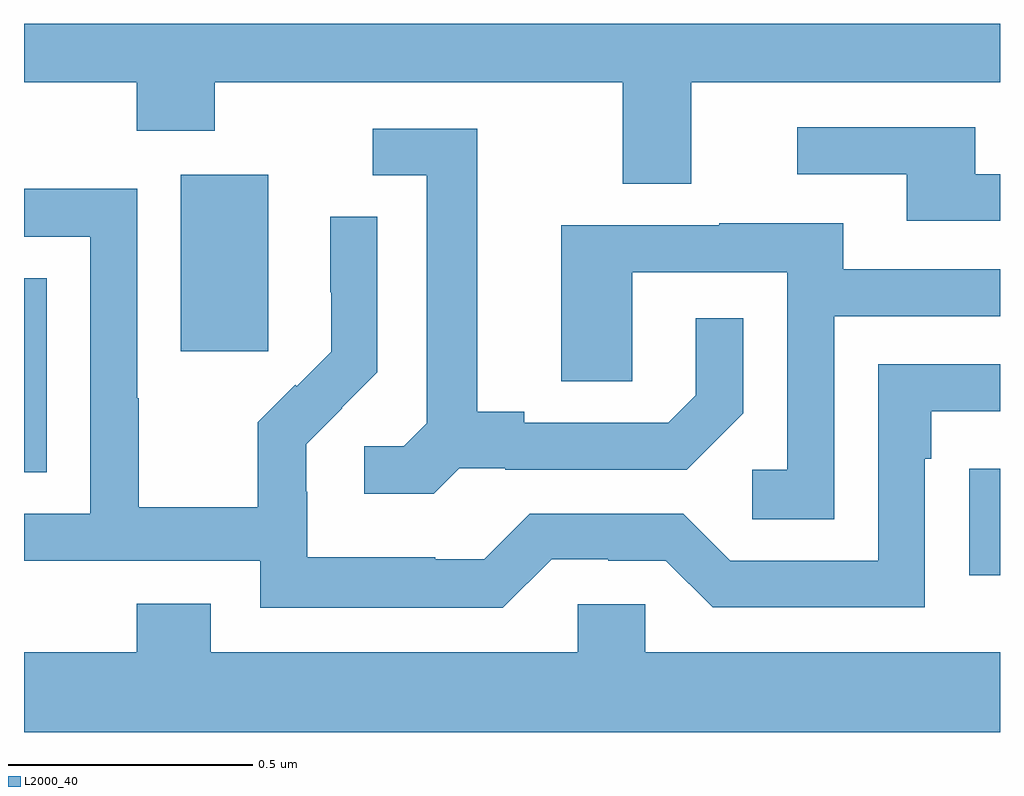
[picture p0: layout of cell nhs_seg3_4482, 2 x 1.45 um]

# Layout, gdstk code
import gdstk
lib = gdstk.Library(unit=1e-6, precision=1e-09)
def R(c, l, rs):  # rectangles x0, y0, x1, y1
    for r in rs: c.add(gdstk.rectangle(r[:2], r[2:], *l))
def P(c, l, *ps):  # polygons
    for p in ps: c.add(gdstk.Polygon(p, *l))
L2000_40 = (2000, 40)

nhs_seg3_4482 = lib.new_cell('nhs_seg3_4482')
R(nhs_seg3_4482, L2000_40, [(168.937,669.27,169,669.488), (167,669.481,167.047,669.878), (167.321,669.729,167.5,670.09)])
P(nhs_seg3_4482, L2000_40, [(168.367,670.28),(169,670.28),(169,670.4),(167,670.4),(167,670.28),(167.231,670.28),(167.231,670.181),(167.391,670.181),(167.391,670.28),(168.227,670.28),(168.227,670.072),(168.367,670.072)],
  [(169,670.092),(168.949,670.092),(168.949,670.188),(168.585,670.188),(168.585,670.092),(168.809,670.092),(168.809,669.996),(169,669.996)],
  [(167.892,669.489),(167.986,669.489),(167.986,669.486),(168.358,669.486),(168.474,669.602),(168.474,669.796),(168.377,669.796),(168.377,669.639),(168.32,669.582),(168.025,669.582),(168.025,669.605),(167.929,669.605),(167.929,670.185),(167.715,670.185),(167.715,670.089),(167.825,670.089),(167.825,669.581),(167.778,669.534),(167.697,669.534),(167.697,669.437),(167.84,669.437)],
  [(168.081,669.303),(168.197,669.303),(168.197,669.3),(168.315,669.3),(168.411,669.204),(168.846,669.204),(168.846,669.509),(168.859,669.509),(168.859,669.606),(169,669.606),(169,669.702),(168.75,669.702),(168.75,669.3),(168.447,669.3),(168.351,669.396),(168.036,669.396),(167.943,669.303),(167.843,669.303),(167.843,669.307),(167.58,669.307),(167.58,669.441),(167.578,669.441),(167.578,669.538),(167.652,669.612),(167.651,669.613),(167.724,669.686),(167.724,670.004),(167.628,670.004),(167.628,669.85),(167.63,669.85),(167.63,669.728),(167.559,669.657),(167.556,669.66),(167.479,669.583),(167.479,669.409),(167.235,669.409),(167.235,669.632),(167.232,669.632),(167.232,670.062),(167,670.062),(167,669.963),(167.136,669.963),(167.136,669.396),(167,669.396),(167,669.3),(167.484,669.3),(167.484,669.203),(167.981,669.203)],
  [(168.66,669.801),(169,669.801),(169,669.897),(168.679,669.897),(168.679,669.991),(168.425,669.991),(168.425,669.987),(168.101,669.987),(168.101,669.667),(168.246,669.667),(168.246,669.891),(168.564,669.891),(168.564,669.486),(168.492,669.486),(168.492,669.385),(168.66,669.385)],
  [(169,669.112),(168.273,669.112),(168.273,669.21),(168.135,669.21),(168.135,669.112),(167.383,669.112),(167.383,669.211),(167.231,669.211),(167.231,669.112),(167,669.112),(167,668.948),(169,668.948)])

lib.write_gds('nhs_seg3_4482.gds')
